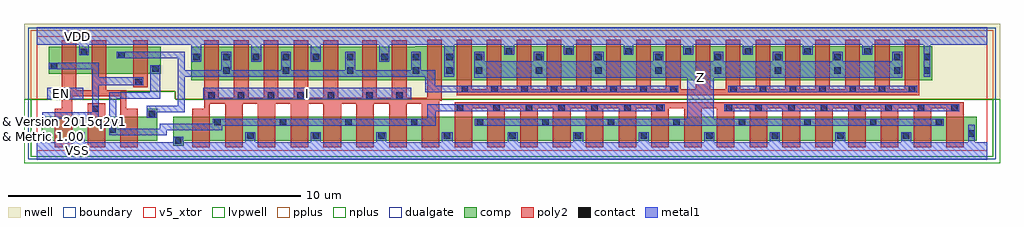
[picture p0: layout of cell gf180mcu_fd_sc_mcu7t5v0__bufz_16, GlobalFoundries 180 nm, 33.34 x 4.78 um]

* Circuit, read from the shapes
.subckt gf180mcu_fd_sc_mcu7t5v0__bufz_16 EN I VDD VSS Z
XM1 VSS EN n1 VSUBS nfet_05v0 w=0.815u l=0.6u
XM2 n2 n1 VSS VSUBS nfet_05v0 w=0.815u l=0.6u
XM3 n3 EN n2 VSUBS nfet_05v0 w=0.815u l=0.6u
XM4 n2 I VSS VSUBS nfet_05v0 w=0.82u l=0.6u m=8
XM5 Z n2 VSS VSUBS nfet_05v0 w=0.82u l=0.6u m=16
XM6 VDD EN n1 n4 pfet_05v0 w=0.92u l=0.5u
XM7 n3 EN VDD n4 pfet_05v0 w=0.92u l=0.5u
XM8 n2 n1 n3 n4 pfet_05v0 w=0.92u l=0.5u
XM9 n3 I VDD n4 pfet_05v0 w=1.15u l=0.5u m=7
XM10 VDD I n3 n4 pfet_05v0 w=1.175u l=0.5u
XM11 Z n3 VDD n4 pfet_05v0 w=1.175u l=0.5u m=16
.ends

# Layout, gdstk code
import gdstk
lib = gdstk.Library(unit=1e-6, precision=1e-09)
def R(c, l, rs):  # rectangles x0, y0, x1, y1
    for r in rs: c.add(gdstk.rectangle(r[:2], r[2:], *l))
def A(c, l, x, y, w, h, nx, ny, dx, dy):  # array of equal rectangles
    R(c, l, [(x+i*dx, y+j*dy, x+i*dx+w, y+j*dy+h) for i in range(nx) for j in range(ny)])
def P(c, l, *ps):  # polygons
    for p in ps: c.add(gdstk.Polygon(p, *l))
boundary = (0, 0)
nwell = (21, 0)
comp = (22, 0)
poly2 = (30, 0)
pplus = (31, 0)
nplus = (32, 0)
contact = (33, 0)
metal1 = (34, 0)
dualgate = (55, 0)
v5_xtor = (112, 1)
lvpwell = (204, 0)

gf180mcu_fd_sc_mcu7t5v0_ = lib.new_cell('gf180mcu_fd_sc_mcu7t5v0__bufz_16')
R(gf180mcu_fd_sc_mcu7t5v0_, boundary, [(0,0,32.48,3.92)])
P(gf180mcu_fd_sc_mcu7t5v0_, nwell, [(-0.43,1.76),(-0.43,4.35),(32.91,4.35),(32.91,1.76),(4.745,1.76),(4.745,2.035),(2.875,2.035),(2.875,1.76)])
R(gf180mcu_fd_sc_mcu7t5v0_, comp, [(0.42,2.635,4.24,3.555)])
P(gf180mcu_fd_sc_mcu7t5v0_, comp, [(0.18,0.345),(0.18,1.16),(3.76,1.16),(3.76,1.435),(4.12,1.435),(4.12,0.345)],
  [(5.28,2.405),(5.28,3.555),(12.94,3.555),(12.94,3.58),(30.6,3.58),(30.6,2.405)],
  [(4.66,0.18),(4.66,1.16),(32.12,1.16),(32.12,0.34),(5.02,0.34),(5.02,0.18)])
R(gf180mcu_fd_sc_mcu7t5v0_, poly2, [(1.74,0.12,2.34,1.62), (3.3,2.17,3.8,3.775)])
P(gf180mcu_fd_sc_mcu7t5v0_, poly2, [(0.62,0.12),(0.62,1.44),(0.86,1.44),(0.86,3.775),(1.36,3.775),(1.36,2.065),(1.88,2.065),(1.88,3.775),(2.38,3.775),(2.38,2.065),(3.06,2.065),(3.06,1.44),(3.46,1.44),(3.46,0.12),(2.86,0.12),(2.86,1.865),(1.22,1.865),(1.22,0.12)],
  [(5.32,0.12),(5.32,1.435),(5.72,1.435),(5.72,3.775),(6.22,3.775),(6.22,1.815),(6.74,1.815),(6.74,3.775),(7.24,3.775),(7.24,1.815),(7.76,1.815),(7.76,3.775),(8.26,3.775),(8.26,1.815),(8.78,1.815),(8.78,3.775),(9.28,3.775),(9.28,1.815),(9.8,1.815),(9.8,3.775),(10.3,3.775),(10.3,1.815),(11.12,1.815),(11.12,3.775),(11.62,3.775),(11.62,1.815),(12.14,1.815),(12.14,3.775),(12.64,3.775),(12.64,1.815),(13.34,1.815),(13.34,3.8),(13.84,3.8),(13.84,1.71),(13.76,1.71),(13.76,0.12),(13.16,0.12),(13.16,1.615),(12.64,1.615),(12.64,0.12),(12.04,0.12),(12.04,1.615),(11.52,1.615),(11.52,0.12),(10.92,0.12),(10.92,1.615),(10.4,1.615),(10.4,0.12),(9.8,0.12),(9.8,1.615),(9.28,1.615),(9.28,0.12),(8.68,0.12),(8.68,1.615),(8.16,1.615),(8.16,0.12),(7.56,0.12),(7.56,1.615),(7.04,1.615),(7.04,0.12),(6.44,0.12),(6.44,1.615),(5.92,1.615),(5.92,0.12)],
  [(14.36,1.9),(14.36,3.8),(14.86,3.8),(14.86,2.1),(15.38,2.1),(15.38,3.8),(15.88,3.8),(15.88,2.1),(16.4,2.1),(16.4,3.8),(16.9,3.8),(16.9,2.1),(17.42,2.1),(17.42,3.8),(17.92,3.8),(17.92,2.1),(18.44,2.1),(18.44,3.8),(18.94,3.8),(18.94,2.1),(19.46,2.1),(19.46,3.8),(19.96,3.8),(19.96,2.1),(20.48,2.1),(20.48,3.8),(20.98,3.8),(20.98,2.1),(21.5,2.1),(21.5,3.8),(22,3.8),(22,2.1),(22.52,2.1),(22.52,3.8),(23.02,3.8),(23.02,2.1),(23.54,2.1),(23.54,3.8),(24.04,3.8),(24.04,2.1),(24.56,2.1),(24.56,3.8),(25.06,3.8),(25.06,2.1),(25.58,2.1),(25.58,3.8),(26.08,3.8),(26.08,2.1),(26.6,2.1),(26.6,3.8),(27.1,3.8),(27.1,2.1),(27.62,2.1),(27.62,3.8),(28.12,3.8),(28.12,2.1),(28.64,2.1),(28.64,3.8),(29.14,3.8),(29.14,2.1),(29.66,2.1),(29.66,3.8),(30.16,3.8),(30.16,1.9)],
  [(14.28,0.12),(14.28,1.66),(31.68,1.66),(31.68,0.12),(31.08,0.12),(31.08,1.46),(30.56,1.46),(30.56,0.12),(29.96,0.12),(29.96,1.46),(29.44,1.46),(29.44,0.12),(28.84,0.12),(28.84,1.46),(28.32,1.46),(28.32,0.12),(27.72,0.12),(27.72,1.46),(27.2,1.46),(27.2,0.12),(26.6,0.12),(26.6,1.46),(26.08,1.46),(26.08,0.12),(25.48,0.12),(25.48,1.46),(24.96,1.46),(24.96,0.12),(24.36,0.12),(24.36,1.46),(23.84,1.46),(23.84,0.12),(23.24,0.12),(23.24,1.46),(22.72,1.46),(22.72,0.12),(22.12,0.12),(22.12,1.46),(21.6,1.46),(21.6,0.12),(21,0.12),(21,1.46),(20.48,1.46),(20.48,0.12),(19.88,0.12),(19.88,1.46),(19.36,1.46),(19.36,0.12),(18.76,0.12),(18.76,1.46),(18.24,1.46),(18.24,0.12),(17.64,0.12),(17.64,1.46),(17.12,1.46),(17.12,0.12),(16.52,0.12),(16.52,1.46),(16,1.46),(16,0.12),(15.4,0.12),(15.4,1.46),(14.88,1.46),(14.88,0.12)])
P(gf180mcu_fd_sc_mcu7t5v0_, pplus, [(-0.2,1.76),(-0.2,4.12),(32.68,4.12),(32.68,1.76),(4.745,1.76),(4.745,2.035),(2.875,2.035),(2.875,1.76)])
P(gf180mcu_fd_sc_mcu7t5v0_, nplus, [(-0.2,-0.2),(-0.2,1.76),(2.875,1.76),(2.875,2.035),(4.745,2.035),(4.745,1.76),(32.68,1.76),(32.68,-0.2)])
A(gf180mcu_fd_sc_mcu7t5v0_, contact, 7.19, 0.41, 0.22, 0.22, 11, 1, 2.24, 0)
A(gf180mcu_fd_sc_mcu7t5v0_, contact, 6.07, 0.87, 0.22, 0.22, 12, 1, 2.24, 0)
A(gf180mcu_fd_sc_mcu7t5v0_, contact, 15.595, 1.365, 0.22, 0.22, 3, 1, 1.115, 0)
A(gf180mcu_fd_sc_mcu7t5v0_, contact, 15.53, 2.005, 0.22, 0.22, 3, 1, 1.02, 0)
A(gf180mcu_fd_sc_mcu7t5v0_, contact, 15.01, 2.63, 0.22, 0.22, 8, 2, 2.04, 0.47)
A(gf180mcu_fd_sc_mcu7t5v0_, contact, 5.35, 3.1, 0.22, 0.22, 5, 1, 1.02, 0)
A(gf180mcu_fd_sc_mcu7t5v0_, contact, 16.03, 3.29, 0.22, 0.22, 7, 1, 2.04, 0)
R(gf180mcu_fd_sc_mcu7t5v0_, contact, [(4.73,0.25,4.95,0.47), (1.37,0.415,1.59,0.635), (31.83,0.48,32.05,0.7), (2.49,0.62,2.71,0.84), (0.25,0.87,0.47,1.09), (3.83,1.145,4.05,1.365), (1.9,1.33,2.12,1.55), (14.35,1.365,14.57,1.585), (18.95,1.365,19.17,1.585), (20.075,1.365,20.295,1.585), (21.17,1.365,21.39,1.585), (23.55,1.365,23.77,1.585), (24.555,1.365,24.775,1.585), (25.675,1.365,25.895,1.585), (26.785,1.365,27.005,1.585), (27.925,1.365,28.145,1.585), (28.99,1.365,29.21,1.585), (30.1,1.365,30.32,1.585), (31.24,1.365,31.46,1.585), (5.86,1.78,6.08,2), (6.87,1.78,7.09,2), (7.895,1.78,8.115,2), (8.91,1.78,9.13,2), (9.94,1.78,10.16,2), (11.26,1.78,11.48,2), (12.28,1.78,12.5,2), (0.93,1.835,1.15,2.055), (14.515,2.005,14.735,2.225), (18.58,2.005,18.8,2.225), (19.6,2.005,19.82,2.225), (20.625,2.005,20.845,2.225), (21.64,2.005,21.86,2.225), (23.69,2.005,23.91,2.225), (24.705,2.005,24.925,2.225), (25.725,2.005,25.945,2.225), (26.735,2.005,26.955,2.225), (27.77,2.005,27.99,2.225), (28.765,2.005,28.985,2.225), (29.8,2.005,30.02,2.225), (3.37,2.24,3.59,2.46), (6.37,2.63,6.59,2.85), (8.41,2.63,8.63,2.85), (10.605,2.63,10.825,2.85), (12.85,2.63,13.07,2.85), (13.99,2.63,14.21,2.85), (30.31,2.63,30.53,2.85), (3.95,2.705,4.17,2.925), (0.49,2.785,0.71,3.005), (10.605,3.1,10.825,3.32), (11.77,3.1,11.99,3.32), (12.85,3.1,13.07,3.32), (13.99,3.1,14.21,3.32), (30.31,3.1,30.53,3.32), (2.79,3.165,3.01,3.385), (1.51,3.265,1.73,3.485)])
R(gf180mcu_fd_sc_mcu7t5v0_, metal1, [(23.49,1.36,31.52,1.59), (0.37,1.77,1.59,2.15), (5.69,1.77,12.79,2.15), (23.63,2,30.08,2.23)])
P(gf180mcu_fd_sc_mcu7t5v0_, metal1, [(0.19,0.865),(0.19,1.325),(1.895,1.325),(1.895,2.78),(0.42,2.78),(0.42,3.01),(2.125,3.01),(2.125,2.52),(3.65,2.52),(3.65,2.235),(2.125,2.235),(2.125,1.095),(0.53,1.095),(0.53,0.865)],
  [(2.485,0.53),(2.485,2.005),(3.89,2.005),(3.89,2.93),(4.23,2.93),(4.23,1.775),(2.715,1.775),(2.715,0.76),(4.215,0.76),(4.215,0.935),(6.01,0.935),(6.01,1.095),(13.35,1.095),(13.35,1.59),(21.45,1.59),(21.45,1.36),(13.64,1.36),(13.64,0.865),(6.35,0.865),(6.35,0.705),(4.44,0.705),(4.44,0.53)],
  [(3.77,1.14),(3.77,1.545),(4.83,1.545),(4.83,3.16),(2.73,3.16),(2.73,3.39),(5.06,3.39),(5.06,2.76),(6.31,2.76),(6.31,3.38),(6.65,3.38),(6.65,2.76),(8.35,2.76),(8.35,3.38),(8.69,3.38),(8.69,2.76),(10.545,2.76),(10.545,3.38),(10.885,3.38),(10.885,2.76),(12.79,2.76),(12.79,3.38),(13.13,3.38),(13.13,2.76),(13.615,2.76),(13.615,2.23),(21.92,2.23),(21.92,2),(13.27,2),(13.27,2.53),(5.06,2.53),(5.06,1.315),(4.11,1.315),(4.11,1.14)],
  [(14.97,0.865),(14.97,1.095),(22.23,1.095),(22.23,2.505),(14.95,2.505),(14.95,3.38),(15.29,3.38),(15.29,3.055),(16.99,3.055),(16.99,3.38),(17.33,3.38),(17.33,3.055),(19.03,3.055),(19.03,3.38),(19.37,3.38),(19.37,3.055),(21.07,3.055),(21.07,3.38),(21.41,3.38),(21.41,3.055),(23.13,3.055),(23.13,3.38),(23.45,3.38),(23.45,3.055),(25.15,3.055),(25.15,3.38),(25.49,3.38),(25.49,3.055),(27.19,3.055),(27.19,3.38),(27.53,3.38),(27.53,3.055),(29.23,3.055),(29.23,3.38),(29.57,3.38),(29.57,2.505),(23.13,2.505),(23.13,1.095),(30.99,1.095),(30.99,0.865)],
  [(0,-0.3),(0,0.3),(1.31,0.3),(1.31,0.64),(1.65,0.64),(1.65,0.3),(4.67,0.3),(4.67,0.475),(5.01,0.475),(5.01,0.3),(7.13,0.3),(7.13,0.635),(7.47,0.635),(7.47,0.3),(9.37,0.3),(9.37,0.635),(9.71,0.635),(9.71,0.3),(11.61,0.3),(11.61,0.635),(11.95,0.635),(11.95,0.3),(13.835,0.3),(13.835,0.635),(14.21,0.635),(14.21,0.3),(16.09,0.3),(16.09,0.635),(16.43,0.635),(16.43,0.3),(18.33,0.3),(18.33,0.635),(18.67,0.635),(18.67,0.3),(20.57,0.3),(20.57,0.635),(20.91,0.635),(20.91,0.3),(22.81,0.3),(22.81,0.635),(23.15,0.635),(23.15,0.3),(25.05,0.3),(25.05,0.635),(25.39,0.635),(25.39,0.3),(27.29,0.3),(27.29,0.635),(27.63,0.635),(27.63,0.3),(29.53,0.3),(29.53,0.635),(29.87,0.635),(29.87,0.3),(31.825,0.3),(31.825,0.9),(32.055,0.9),(32.055,0.3),(32.48,0.3),(32.48,-0.3)],
  [(13.93,2.53),(13.93,3.62),(12.05,3.62),(12.05,3.04),(11.71,3.04),(11.71,3.62),(9.71,3.62),(9.71,3.04),(9.37,3.04),(9.37,3.62),(7.67,3.62),(7.67,3.04),(7.33,3.04),(7.33,3.62),(5.63,3.62),(5.63,3.04),(5.29,3.04),(5.29,3.62),(1.79,3.62),(1.79,3.26),(1.45,3.26),(1.45,3.62),(0,3.62),(0,4.22),(32.48,4.22),(32.48,3.62),(30.535,3.62),(30.535,2.53),(30.305,2.53),(30.305,3.62),(28.55,3.62),(28.55,3.285),(28.21,3.285),(28.21,3.62),(26.51,3.62),(26.51,3.285),(26.17,3.285),(26.17,3.62),(24.47,3.62),(24.47,3.285),(24.13,3.285),(24.13,3.62),(22.43,3.62),(22.43,3.285),(22.09,3.285),(22.09,3.62),(20.39,3.62),(20.39,3.285),(20.05,3.285),(20.05,3.62),(18.35,3.62),(18.35,3.285),(18.01,3.285),(18.01,3.62),(16.31,3.62),(16.31,3.285),(15.97,3.285),(15.97,3.62),(14.27,3.62),(14.27,2.53)])
R(gf180mcu_fd_sc_mcu7t5v0_, dualgate, [(-0.28,-0.28,32.76,4.2)])
R(gf180mcu_fd_sc_mcu7t5v0_, v5_xtor, [(0,0,32.48,3.92)])
P(gf180mcu_fd_sc_mcu7t5v0_, lvpwell, [(-0.43,-0.43),(-0.43,1.76),(2.875,1.76),(2.875,2.035),(4.745,2.035),(4.745,1.76),(32.91,1.76),(32.91,-0.43)])
gf180mcu_fd_sc_mcu7t5v0_.add(gdstk.Label('I', (9.24,1.96), layer=34, texttype=10))
gf180mcu_fd_sc_mcu7t5v0_.add(gdstk.Label('VDD', (1.4,3.92), layer=34, texttype=10))
gf180mcu_fd_sc_mcu7t5v0_.add(gdstk.Label('VSS', (1.4,0), layer=34, texttype=10))
gf180mcu_fd_sc_mcu7t5v0_.add(gdstk.Label('Z', (22.68,2.52), layer=34, texttype=10))
gf180mcu_fd_sc_mcu7t5v0_.add(gdstk.Label('EN', (0.84,1.96), layer=34, texttype=10))
gf180mcu_fd_sc_mcu7t5v0_.add(gdstk.Label('& Vendor GLOBALFOUNDRIES', (0,2), layer=63, texttype=63))
gf180mcu_fd_sc_mcu7t5v0_.add(gdstk.Label('& Product GF018hv5v_mcu_sc7', (0,1.5), layer=63, texttype=63))
gf180mcu_fd_sc_mcu7t5v0_.add(gdstk.Label('& Version 2015q2v1', (0,1), layer=63, texttype=63))
gf180mcu_fd_sc_mcu7t5v0_.add(gdstk.Label('& Metric 1.00', (0,0.5), layer=63, texttype=63))

lib.write_gds('gf180mcu_fd_sc_mcu7t5v0__bufz_16.gds')
